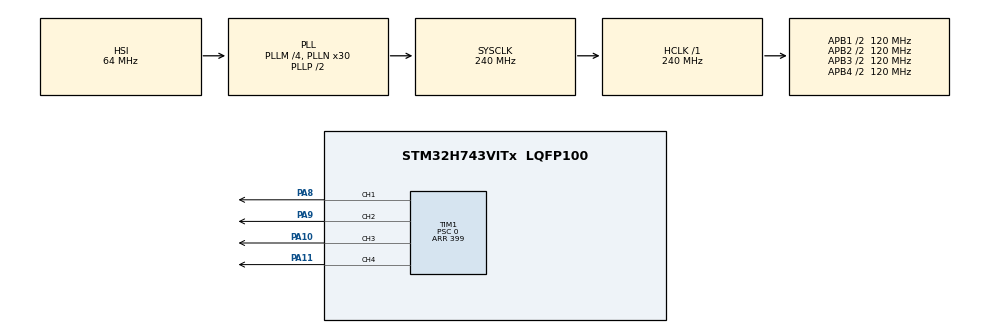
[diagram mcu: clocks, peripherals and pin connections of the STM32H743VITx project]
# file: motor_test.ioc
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CORTEX_M7.default_mode_Activation=1
Dma.Request0=TIM1_UP
Dma.TIM1_UP.0.Direction=DMA_MEMORY_TO_PERIPH
Dma.TIM1_UP.0.EventEnable=DISABLE
Dma.TIM1_UP.0.FIFOMode=DMA_FIFOMODE_DISABLE
Dma.TIM1_UP.0.Instance=DMA1_Stream0
Dma.TIM1_UP.0.MemDataAlignment=DMA_MDATAALIGN_WORD
Dma.TIM1_UP.0.MemInc=DMA_MINC_ENABLE
Dma.TIM1_UP.0.Mode=DMA_NORMAL
Dma.TIM1_UP.0.PeriphDataAlignment=DMA_PDATAALIGN_WORD
Dma.TIM1_UP.0.PeriphInc=DMA_PINC_DISABLE
Dma.TIM1_UP.0.Polarity=HAL_DMAMUX_REQ_GEN_RISING
Dma.TIM1_UP.0.Priority=DMA_PRIORITY_VERY_HIGH
Dma.TIM1_UP.0.RequestNumber=1
Dma.TIM1_UP.0.SignalID=NONE
Dma.TIM1_UP.0.SyncEnable=DISABLE
Dma.TIM1_UP.0.SyncPolarity=HAL_DMAMUX_SYNC_NO_EVENT
Dma.TIM1_UP.0.SyncRequestNumber=1
Dma.TIM1_UP.0.SyncSignalID=NONE
Mcu.Family=STM32H7
Mcu.Name=STM32H743VITx
Mcu.Package=LQFP100
NVIC.DMA1_Stream0_IRQn=true\:0\:0\:false\:false\:true\:false\:true\:true
NVIC.PriorityGroup=NVIC_PRIORITYGROUP_4
PA10.GPIO_Speed=GPIO_SPEED_FREQ_VERY_HIGH
PA10.Signal=S_TIM1_CH3
PA11.GPIO_Speed=GPIO_SPEED_FREQ_VERY_HIGH
PA11.Signal=S_TIM1_CH4
PA8.GPIO_PuPd=GPIO_NOPULL
PA8.GPIO_Speed=GPIO_SPEED_FREQ_VERY_HIGH
PA8.Signal=S_TIM1_CH1
PA9.GPIO_Speed=GPIO_SPEED_FREQ_VERY_HIGH
PA9.Signal=S_TIM1_CH2
ProjectManager.HeapSize=0x200
ProjectManager.StackSize=0x400
ProjectManager.TargetToolchain=CMake
RCC.ADCFreq_Value=129000000
RCC.APB1Freq_Value=120000000
RCC.APB2Freq_Value=120000000
RCC.APB3Freq_Value=120000000
RCC.APB4Freq_Value=120000000
RCC.CortexFreq_Value=240000000
RCC.D1PPRE=RCC_APB3_DIV2
RCC.D2PPRE1=RCC_APB1_DIV2
RCC.D2PPRE2=RCC_APB2_DIV2
RCC.D3PPRE=RCC_APB4_DIV2
RCC.DIVM1=4
RCC.DIVN1=30
RCC.HCLKFreq_Value=240000000
RCC.PLLFRACN=0
RCC.SYSCLKFreq_VALUE=240000000
RCC.SYSCLKSource=RCC_SYSCLKSOURCE_PLLCLK
RCC.USBFreq_Value=240000000
SH.S_TIM1_CH1.0=TIM1_CH1,PWM Generation1 CH1
SH.S_TIM1_CH2.0=TIM1_CH2,PWM Generation2 CH2
SH.S_TIM1_CH3.0=TIM1_CH3,PWM Generation3 CH3
SH.S_TIM1_CH4.0=TIM1_CH4,PWM Generation4 CH4
TIM1.Channel-PWM\ Generation1\ CH1=TIM_CHANNEL_1
TIM1.Channel-PWM\ Generation2\ CH2=TIM_CHANNEL_2
TIM1.Channel-PWM\ Generation3\ CH3=TIM_CHANNEL_3
TIM1.Channel-PWM\ Generation4\ CH4=TIM_CHANNEL_4
TIM1.Period=399
TIM1.Prescaler=0
TIM1.Pulse-PWM\ Generation1\ CH1=0
TIM1.Pulse-PWM\ Generation2\ CH2=0
TIM1.Pulse-PWM\ Generation3\ CH3=0
TIM1.Pulse-PWM\ Generation4\ CH4=0
VP_MEMORYMAP_VS_MEMORYMAP.Mode=CurAppReg
VP_TIM1_VS_ClockSourceINT.Mode=Internal
board=custom

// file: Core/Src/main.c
/* USER CODE BEGIN Header */
/**
  ******************************************************************************
  * @file           : main.c
  * @brief          : Main program body
  ******************************************************************************
  * @attention
  *
  * Copyright (c) 2026 STMicroelectronics.
  * All rights reserved.
  *
  * This software is licensed under terms that can be found in the LICENSE file
  * in the root directory of this software component.
  * If no LICENSE file comes with this software, it is provided AS-IS.
  *
  ******************************************************************************
  */
/* USER CODE END Header */
#include "main.h"
#include "dma.h"
#include "tim.h"
#include "gpio.h"

/* USER CODE BEGIN Includes */
#include "dshot.h"
#include "esc.h"
#include "esc_config.h"

/* USER CODE END Includes */

/* USER CODE BEGIN PD */

#define MOTOR_TEST_DSHOT_VALUE          50U
#define MOTOR_TEST_DURATION_MS        10000U
#define MOTOR_TEST_FRAME_INTERVAL_MS      1U

#if (MOTOR_TEST_DSHOT_VALUE < 48U) || (MOTOR_TEST_DSHOT_VALUE > 2047U)
#error "MOTOR_TEST_DSHOT_VALUE must be between 48 and 2047"
#endif

/* USER CODE END PD */

/* USER CODE BEGIN PV */

/**
 * 0 motor stop
 * 1-47 CMDs (Beep, Direction, save...)
 * 48-2047 throttle (2047 max)
 *
 */
static uint16_t motor_values[DSHOT_MOTOR_COUNT] = {
		0U,
		0U,
		0U,
		0U
};
/* USER CODE END PV */

void SystemClock_Config(void);
static void MPU_Config(void);

int main(void)
{

  /* MPU Configuration--------------------------------------------------------*/
  MPU_Config();

  /* MCU Configuration--------------------------------------------------------*/

  /* Reset of all peripherals, Initializes the Flash interface and the Systick. */
  HAL_Init();

  /* Configure the system clock */
  SystemClock_Config();

  /* USER CODE BEGIN SysInit */

  /* Enable the D2 SRAM1 interface clock. The DShot DMA buffer lives there
   (.dma_ram). RCC_AHB2ENR resets to 0, and CubeMX does not generate this. */
  __HAL_RCC_D2SRAM1_CLK_ENABLE();

  /* USER CODE END SysInit */

  /* Initialize all configured peripherals */
  MX_GPIO_Init();
  MX_DMA_Init();
  MX_TIM1_Init();
  /* USER CODE BEGIN 2 */

  /* Initialize DShot and keep all ESCs stopped during their startup phase. */
  if (ESC_Init() != HAL_OK)
  {
    Error_Handler();
  }

  /* Play all five beacon tones on every ESC. */
  for (esc_channel_t channel = ESC_CHANNEL_1;
       channel <= ESC_CHANNEL_4;
       channel++)
  {
    for (uint8_t beacon = 1U; beacon <= 5U; beacon++)
    {
      if (ESC_Beep(channel, beacon) != HAL_OK)
      {
        Error_Handler();
      }
      HAL_Delay(300U);
    }
  }

  /* Run all motors at a low throttle value for the configured duration. */
  for (uint32_t motor = 0U; motor < DSHOT_MOTOR_COUNT; motor++)
  {
    motor_values[motor] = MOTOR_TEST_DSHOT_VALUE;
  }

  const uint32_t motor_test_start = HAL_GetTick();

  while ((HAL_GetTick() - motor_test_start) < MOTOR_TEST_DURATION_MS)
  {
    if (!DShot_IsBusy())
    {
      if (DShot_Send(motor_values, DSHOT_TELEMETRY_NONE) != HAL_OK)
      {
        Error_Handler();
      }
    }

    HAL_Delay(MOTOR_TEST_FRAME_INTERVAL_MS);
  }

  /* Stop every motor after the test. */
  for (uint32_t motor = 0U; motor < DSHOT_MOTOR_COUNT; motor++)
  {
    motor_values[motor] = 0U;
  }

    /* USER CODE END 2 */

  /* Infinite loop */
  while (1)
  {

    /* USER CODE BEGIN 3 */
    if (!DShot_IsBusy())
    {
      if (DShot_Send(motor_values, DSHOT_TELEMETRY_NONE) != HAL_OK)
      {
        Error_Handler();
      }
    }

    HAL_Delay(MOTOR_TEST_FRAME_INTERVAL_MS);
  }
  /* USER CODE END 3 */
}

void SystemClock_Config(void)
{
  RCC_OscInitTypeDef RCC_OscInitStruct = {0};
  RCC_ClkInitTypeDef RCC_ClkInitStruct = {0};

  /** Supply configuration update enable
  */
  HAL_PWREx_ConfigSupply(PWR_LDO_SUPPLY);

  /** Configure the main internal regulator output voltage
  */
  __HAL_PWR_VOLTAGESCALING_CONFIG(PWR_REGULATOR_VOLTAGE_SCALE0);

  while(!__HAL_PWR_GET_FLAG(PWR_FLAG_VOSRDY)) {}

  /** Initializes the RCC Oscillators according to the specified parameters
  * in the RCC_OscInitTypeDef structure.
  */
  RCC_OscInitStruct.OscillatorType = RCC_OSCILLATORTYPE_HSI;
  RCC_OscInitStruct.HSIState = RCC_HSI_DIV1;
  RCC_OscInitStruct.HSICalibrationValue = RCC_HSICALIBRATION_DEFAULT;
  RCC_OscInitStruct.PLL.PLLState = RCC_PLL_ON;
  RCC_OscInitStruct.PLL.PLLSource = RCC_PLLSOURCE_HSI;
  RCC_OscInitStruct.PLL.PLLM = 4;
  RCC_OscInitStruct.PLL.PLLN = 30;
  RCC_OscInitStruct.PLL.PLLP = 2;
  RCC_OscInitStruct.PLL.PLLQ = 2;
  RCC_OscInitStruct.PLL.PLLR = 2;
  RCC_OscInitStruct.PLL.PLLRGE = RCC_PLL1VCIRANGE_3;
  RCC_OscInitStruct.PLL.PLLVCOSEL = RCC_PLL1VCOWIDE;
  RCC_OscInitStruct.PLL.PLLFRACN = 0;
  if (HAL_RCC_OscConfig(&RCC_OscInitStruct) != HAL_OK)
  {
    Error_Handler();
  }

  /** Initializes the CPU, AHB and APB buses clocks
  */
  RCC_ClkInitStruct.ClockType = RCC_CLOCKTYPE_HCLK|RCC_CLOCKTYPE_SYSCLK
                              |RCC_CLOCKTYPE_PCLK1|RCC_CLOCKTYPE_PCLK2
                              |RCC_CLOCKTYPE_D3PCLK1|RCC_CLOCKTYPE_D1PCLK1;
  RCC_ClkInitStruct.SYSCLKSource = RCC_SYSCLKSOURCE_PLLCLK;
  RCC_ClkInitStruct.SYSCLKDivider = RCC_SYSCLK_DIV1;
  RCC_ClkInitStruct.AHBCLKDivider = RCC_HCLK_DIV1;
  RCC_ClkInitStruct.APB3CLKDivider = RCC_APB3_DIV2;
  RCC_ClkInitStruct.APB1CLKDivider = RCC_APB1_DIV2;
  RCC_ClkInitStruct.APB2CLKDivider = RCC_APB2_DIV2;
  RCC_ClkInitStruct.APB4CLKDivider = RCC_APB4_DIV2;

  if (HAL_RCC_ClockConfig(&RCC_ClkInitStruct, FLASH_LATENCY_4) != HAL_OK)
  {
    Error_Handler();
  }
}

/* USER CODE BEGIN 4 */
void HAL_TIM_PeriodElapsedCallback(TIM_HandleTypeDef *htim)
{
    if (htim->Instance == TIM1)
    {
        DShot_TransferComplete();
    }
}

void HAL_TIM_ErrorCallback(TIM_HandleTypeDef *htim)
{
    if (htim->Instance == TIM1)
    {
        DShot_Abort();
    }
}

/* USER CODE END 4 */

 /* MPU Configuration */

void MPU_Config(void)
{
  MPU_Region_InitTypeDef MPU_InitStruct = {0};

  /* Disables the MPU */
  HAL_MPU_Disable();

  /** Initializes and configures the Region and the memory to be protected
  */
  MPU_InitStruct.Enable = MPU_REGION_ENABLE;
  MPU_InitStruct.Number = MPU_REGION_NUMBER0;
  MPU_InitStruct.BaseAddress = 0x0;
  MPU_InitStruct.Size = MPU_REGION_SIZE_4GB;
  MPU_InitStruct.SubRegionDisable = 0x87;
  MPU_InitStruct.TypeExtField = MPU_TEX_LEVEL0;
  MPU_InitStruct.AccessPermission = MPU_REGION_NO_ACCESS;
  MPU_InitStruct.DisableExec = MPU_INSTRUCTION_ACCESS_DISABLE;
  MPU_InitStruct.IsShareable = MPU_ACCESS_SHAREABLE;
  MPU_InitStruct.IsCacheable = MPU_ACCESS_NOT_CACHEABLE;
  MPU_InitStruct.IsBufferable = MPU_ACCESS_NOT_BUFFERABLE;

  HAL_MPU_ConfigRegion(&MPU_InitStruct);
  /* Enables the MPU */
  HAL_MPU_Enable(MPU_PRIVILEGED_DEFAULT);

}

void Error_Handler(void)
{
  __disable_irq();
  while (1)
  {
  }
}
